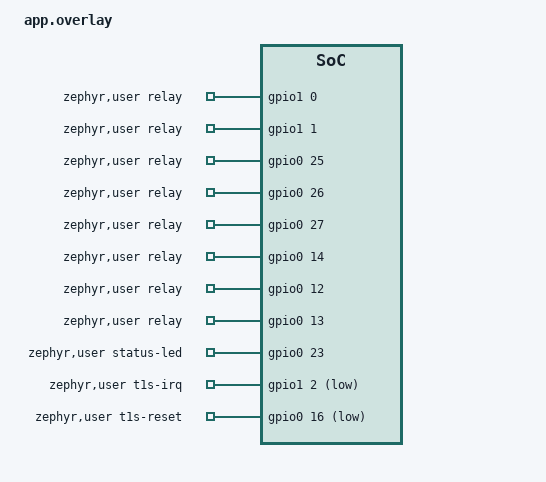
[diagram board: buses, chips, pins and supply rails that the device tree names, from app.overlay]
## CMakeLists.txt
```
cmake_minimum_required(VERSION 3.20.0)

if(NOT BOARD)
  set(BOARD esp32_devkitc/esp32/procpu)
endif()
if(NOT EXISTS "${CMAKE_CURRENT_SOURCE_DIR}/include/config_secrets.h")
  message(FATAL_ERROR "Copy include/sample_cfg_secrets.include to include/config_secrets.h and configure credentials")
endif()

find_package(Zephyr 4.5.0 REQUIRED HINTS $ENV{ZEPHYR_BASE})
project(thermostat_router LANGUAGES C)
target_include_directories(app PRIVATE include)
target_sources(app PRIVATE src/main.c src/network.c src/router.c)
```

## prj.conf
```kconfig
CONFIG_GPIO=y
CONFIG_PINCTRL=y
CONFIG_ESP_SPIRAM=n
CONFIG_ESPTOOLPY_FLASHSIZE_4MB=y

CONFIG_WIFI=y
CONFIG_NETWORKING=y
CONFIG_NET_L2_WIFI_MGMT=y
CONFIG_NET_IPV4=y
CONFIG_NET_IPV6=n
CONFIG_NET_DHCPV4=y
CONFIG_NET_MGMT=y
CONFIG_NET_MGMT_EVENT=y
CONFIG_NET_SOCKETS=y
CONFIG_DNS_RESOLVER=y
CONFIG_MQTT_LIB=y
CONFIG_MQTT_KEEPALIVE=30
CONFIG_NET_TCP=y
CONFIG_NET_UDP=y
CONFIG_NET_MAX_CONTEXTS=8
CONFIG_NET_PKT_RX_COUNT=16
CONFIG_NET_PKT_TX_COUNT=16
CONFIG_NET_BUF_RX_COUNT=32
CONFIG_NET_BUF_TX_COUNT=32

CONFIG_MAIN_STACK_SIZE=6144
CONFIG_SYSTEM_WORKQUEUE_STACK_SIZE=4096
CONFIG_HEAP_MEM_POOL_SIZE=65536
CONFIG_LOG=y
CONFIG_LOG_DEFAULT_LEVEL=3
CONFIG_LOG_MODE_DEFERRED=y
CONFIG_ASSERT=y
CONFIG_REBOOT=y
```

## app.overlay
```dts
#include <zephyr/dt-bindings/gpio/gpio.h>
#include <zephyr/dt-bindings/pinctrl/esp32-pinctrl.h>

/ {
	zephyr,user {
		relay-gpios = <&gpio1 0 GPIO_ACTIVE_HIGH>,
			      <&gpio1 1 GPIO_ACTIVE_HIGH>,
			      <&gpio0 25 GPIO_ACTIVE_HIGH>,
			      <&gpio0 26 GPIO_ACTIVE_HIGH>,
			      <&gpio0 27 GPIO_ACTIVE_HIGH>,
			      <&gpio0 14 GPIO_ACTIVE_HIGH>,
			      <&gpio0 12 GPIO_ACTIVE_HIGH>,
			      <&gpio0 13 GPIO_ACTIVE_HIGH>;
		status-led-gpios = <&gpio0 23 GPIO_ACTIVE_HIGH>;
		/* Reserved only: no MAC/PHY is required or initialized. */
		t1s-irq-gpios = <&gpio1 2 GPIO_ACTIVE_LOW>;
		t1s-reset-gpios = <&gpio0 16 GPIO_ACTIVE_LOW>;
	};
};

&gpio0 {
	/* WROOM has no PSRAM; GPIO16/17 are available on its headers. */
	gpio-reserved-ranges = <6 6>, <20 1>, <24 1>, <28 4>;
};

&i2c0 {
	status = "disabled";
};

&spi2 {
	status = "disabled";
};

&spi3 {
	status = "disabled";
	pinctrl-0 = <&t1s_spi_default>;
	pinctrl-names = "default";
	cs-gpios = <&gpio0 5 GPIO_ACTIVE_LOW>;
};

&pinctrl {
	t1s_spi_default: t1s_spi_default {
		group1 {
			pinmux = <SPIM3_MISO_GPIO19>;
		};
		group2 {
			pinmux = <SPIM3_SCLK_GPIO18>, <SPIM3_MOSI_GPIO21>;
			output-low;
		};
	};
};
```

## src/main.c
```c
#include <zephyr/drivers/gpio.h>
#include <zephyr/kernel.h>
#include <zephyr/logging/log.h>
#include <zephyr/sys/reboot.h>

#include "app.h"

LOG_MODULE_REGISTER(thermostat_router, LOG_LEVEL_INF);

#define USER_NODE DT_PATH(zephyr_user)
#define RELAY_SPEC(node, prop, index) GPIO_DT_SPEC_GET_BY_IDX(node, prop, index),

static const struct gpio_dt_spec relays[] = {
	DT_FOREACH_PROP_ELEM(USER_NODE, relay_gpios, RELAY_SPEC)
};
static const struct gpio_dt_spec led = GPIO_DT_SPEC_GET(USER_NODE, status_led_gpios);
static struct router router;
static struct k_thread led_thread;
K_THREAD_STACK_DEFINE(led_stack, 1024);

BUILD_ASSERT(ARRAY_SIZE(relays) == ROUTER_ZONE_COUNT * 2);

static int write_relay(unsigned int relay, bool energized, void *context)
{
	ARG_UNUSED(context);
	return gpio_pin_set_dt(&relays[relay], energized);
}

static void settle_relays(unsigned int milliseconds, void *context)
{
	ARG_UNUSED(context);
	k_sleep(K_MSEC(milliseconds));
}

int app_set_zone(unsigned int zone, enum zone_mode mode)
{
	const struct router_io io = {
		.write = write_relay,
		.settle = settle_relays,
	};
	int result = router_apply(&router, zone, mode, &io);

	if (result < 0) {
		LOG_ERR("Zone %u GPIO transition failed: %d; resetting to bypass", zone + 1,
			result);
		for (unsigned int parity = 0; parity < 2; ++parity) {
			for (unsigned int i = parity; i < ARRAY_SIZE(relays); i += 2) {
				int reset = gpio_pin_set_dt(&relays[i], 0);

				if (reset < 0) {
					LOG_ERR("Relay %u could not be deenergized: %d", i + 1,
						reset);
				}
			}
			k_sleep(K_MSEC(ROUTER_RELAY_SETTLE_MS));
		}
		sys_reboot(SYS_REBOOT_COLD);
	}
	return result;
}

enum zone_mode app_zone_mode(unsigned int zone)
{
	return router.zones[zone];
}

static void blink_led(void *p1, void *p2, void *p3)
{
	ARG_UNUSED(p1);
	ARG_UNUSED(p2);
	ARG_UNUSED(p3);
	bool illuminated = true;

	for (;;) {
		bool wifi;
		bool mqtt;
		int result = gpio_pin_set_dt(&led, illuminated);

		if (result < 0) {
			LOG_ERR("Status LED write failed: %d", result);
			return;
		}
		app_network_status(&wifi, &mqtt);
		k_sleep(K_MSEC(router_led_duration(wifi, mqtt, illuminated)));
		illuminated = !illuminated;
	}
}

int main(void)
{
	/* Configure every relay inactive before starting any network operation. */
	for (unsigned int i = 0; i < ARRAY_SIZE(relays); ++i) {
		if (!gpio_is_ready_dt(&relays[i])) {
			LOG_ERR("Relay %u GPIO controller is not ready", i + 1);
			return -ENODEV;
		}
		int result = gpio_pin_configure_dt(&relays[i], GPIO_OUTPUT_INACTIVE);

		if (result < 0) {
			LOG_ERR("Relay %u initialization failed: %d", i + 1, result);
			return result;
		}
	}
	if (!gpio_is_ready_dt(&led)) {
		LOG_ERR("LED GPIO controller is not ready");
		return -ENODEV;
	}
	int result = gpio_pin_configure_dt(&led, GPIO_OUTPUT_INACTIVE);

	if (result < 0) {
		LOG_ERR("LED initialization failed: %d", result);
		return result;
	}
	k_thread_create(&led_thread, led_stack, K_THREAD_STACK_SIZEOF(led_stack),
			blink_led, NULL, NULL, NULL, 7, 0, K_NO_WAIT);
	LOG_INF("All four zones initialized in bypass");
	app_run_network();
	return 0;
}
```

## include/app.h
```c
#ifndef THERMOSTAT_APP_H
#define THERMOSTAT_APP_H

#include "router.h"

int app_set_zone(unsigned int zone, enum zone_mode mode);
enum zone_mode app_zone_mode(unsigned int zone);
void app_network_status(bool *wifi, bool *mqtt);
void app_run_network(void);

#endif
```

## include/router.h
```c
#ifndef THERMOSTAT_ROUTER_H
#define THERMOSTAT_ROUTER_H

#include <stdbool.h>
#include <stddef.h>
#include <stdint.h>

#define ROUTER_ZONE_COUNT 4
#define ROUTER_REPORT_INTERVAL_MS 120000
#define ROUTER_RELAY_SETTLE_MS 20

enum zone_mode {
	ZONE_BYPASS,
	ZONE_ON,
	ZONE_OFF,
	ZONE_INVALID
};

struct router {
	enum zone_mode zones[ROUTER_ZONE_COUNT];
};

struct router_io {
	int (*write)(unsigned int relay, bool energized, void *context);
	void (*settle)(unsigned int milliseconds, void *context);
	void *context;
};

struct report_schedule {
	unsigned int zone;
	int64_t deadline;
};

extern const char *const router_command_topics[ROUTER_ZONE_COUNT];
extern const char *const router_state_topics[ROUTER_ZONE_COUNT];

int router_command_zone(const uint8_t *topic, size_t length);
enum zone_mode router_parse_mode(const uint8_t *payload, size_t length);
const char *router_mode_name(enum zone_mode mode);
int router_apply(struct router *router, unsigned int zone, enum zone_mode mode,
		 const struct router_io *io);
unsigned int router_led_duration(bool wifi, bool mqtt, bool illuminated);
void router_report_start(struct report_schedule *schedule, int64_t now);
bool router_report_due(const struct report_schedule *schedule, int64_t now);
void router_report_advance(struct report_schedule *schedule, int64_t now);

#endif
```

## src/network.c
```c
#include <errno.h>
#include <stdio.h>
#include <string.h>

#include <zephyr/kernel.h>
#include <zephyr/logging/log.h>
#include <zephyr/net/net_if.h>
#include <zephyr/net/dhcpv4.h>
#include <zephyr/net/mqtt.h>
#include <zephyr/net/net_event.h>
#include <zephyr/net/socket.h>
#include <zephyr/net/wifi_mgmt.h>
#include <zephyr/sys/atomic.h>

#include "app.h"
#include "config_secrets.h"

LOG_MODULE_REGISTER(router_network, LOG_LEVEL_INF);

BUILD_ASSERT(sizeof(WIFI_SSID) > 1 && sizeof(WIFI_SSID) <= 33,
	     "WIFI_SSID must contain 1 to 32 bytes");
BUILD_ASSERT(sizeof(WIFI_PASSWORD) == 1 ||
	     (sizeof(WIFI_PASSWORD) >= 9 && sizeof(WIFI_PASSWORD) <= 64),
	     "Use an empty Wi-Fi password for an open network, or 8 to 63 bytes for WPA2");
BUILD_ASSERT(sizeof(MQTT_BROKER_HOST) > 1, "MQTT_BROKER_HOST must not be empty");
BUILD_ASSERT(MQTT_BROKER_PORT > 0 && MQTT_BROKER_PORT <= 65535,
	     "MQTT_BROKER_PORT must be between 1 and 65535");

static const char availability[] = "thermostat-router/availability";
static struct net_mgmt_event_callback wifi_callback;
static struct net_if *wifi_interface;
static atomic_t wifi_connected;
static atomic_t mqtt_ready;
static struct mqtt_client client;
static struct sockaddr_in broker;
static uint8_t rx_buffer[512];
static uint8_t tx_buffer[512];
static bool connected;
static bool subscribed;
static int session_error;
static int64_t ping_deadline;
static struct report_schedule reports;

static struct mqtt_utf8 utf8(const char *text)
{
	return (struct mqtt_utf8) {
		.utf8 = (const uint8_t *)text,
		.size = strlen(text),
	};
}

void app_network_status(bool *wifi, bool *mqtt)
{
	*wifi = atomic_get(&wifi_connected) != 0;
	*mqtt = *wifi && atomic_get(&mqtt_ready) != 0;
}

static void wifi_event(struct net_mgmt_event_callback *callback, uint64_t event,
		       struct net_if *iface)
{
	if (iface != wifi_interface) {
		return;
	}
	if (event == NET_EVENT_WIFI_CONNECT_RESULT) {
		const struct wifi_status *status = callback->info;

		if (status == NULL || status->status != 0) {
			atomic_clear(&wifi_connected);
			atomic_clear(&mqtt_ready);
			LOG_WRN("Wi-Fi connection failed: %d", status ? status->status : -EIO);
			return;
		}
		atomic_set(&wifi_connected, 1);
		net_dhcpv4_start(iface);
		LOG_INF("Wi-Fi associated; waiting for DHCP");
	} else if (event == NET_EVENT_WIFI_DISCONNECT_RESULT) {
		atomic_clear(&wifi_connected);
		atomic_clear(&mqtt_ready);
		net_dhcpv4_stop(iface);
		LOG_WRN("Wi-Fi disconnected");
	}
}

static bool network_ready(void)
{
	if (atomic_get(&wifi_connected) == 0) {
		return false;
	}
	const struct in_addr *address =
		net_if_ipv4_get_global_addr(wifi_interface, NET_ADDR_PREFERRED);

	return address != NULL && !net_ipv4_is_addr_unspecified(address);
}

static void request_wifi(void)
{
	struct wifi_connect_req_params params = {
		.ssid = (const uint8_t *)WIFI_SSID,
		.ssid_length = strlen(WIFI_SSID),
		.psk = (const uint8_t *)WIFI_PASSWORD,
		.psk_length = strlen(WIFI_PASSWORD),
		.channel = WIFI_CHANNEL_ANY,
		.band = WIFI_FREQ_BAND_2_4_GHZ,
		.security = sizeof(WIFI_PASSWORD) > 1 ?
			WIFI_SECURITY_TYPE_PSK : WIFI_SECURITY_TYPE_NONE,
		.mfp = WIFI_MFP_OPTIONAL,
		.timeout = 10,
	};
	int result = net_mgmt(NET_REQUEST_WIFI_CONNECT, wifi_interface, &params, sizeof(params));

	if (result < 0 && result != -EALREADY) {
		LOG_WRN("Wi-Fi request failed: %d", result);
	}
}

static int publish_text(const char *topic, const char *text)
{
	struct mqtt_publish_param param = {0};

	param.message.topic.topic = utf8(topic);
	param.message.topic.qos = MQTT_QOS_0_AT_MOST_ONCE;
	param.message.payload.data = (uint8_t *)text;
	param.message.payload.len = strlen(text);
	param.retain_flag = 1;
	return mqtt_publish(&client, &param);
}

static int publish_zone(unsigned int zone)
{
	return publish_text(router_state_topics[zone], router_mode_name(app_zone_mode(zone)));
}

static int read_payload(uint8_t *payload, size_t length)
{
	size_t received = 0;
	int64_t deadline = k_uptime_get() + 2000;

	while (received < length) {
		int result = mqtt_read_publish_payload(&client, payload + received,
						       length - received);

		if (result > 0) {
			received += result;
		} else if (result == 0) {
			return -ECONNRESET;
		} else if (result != -EAGAIN) {
			return result;
		} else {
			if (k_uptime_get() >= deadline) {
				return -ETIMEDOUT;
			}
			struct zsock_pollfd fd = {
				.fd = client.transport.tcp.sock, .events = ZSOCK_POLLIN,
			};
			int polled = zsock_poll(&fd, 1, 50);

			if (polled < 0) {
				return -errno;
			}
			if (fd.revents & (ZSOCK_POLLERR | ZSOCK_POLLHUP | ZSOCK_POLLNVAL)) {
				return -ECONNRESET;
			}
		}
	}
	return 0;
}

static void receive_command(const struct mqtt_publish_param *param)
{
	int zone = router_command_zone(param->message.topic.topic.utf8,
				       param->message.topic.topic.size);
	uint8_t payload[64];

	/* Abort oversized/unsupported packets rather than leave unread bytes in the stream. */
	if (param->message.payload.len > sizeof(payload) ||
	    param->message.topic.qos > MQTT_QOS_1_AT_LEAST_ONCE) {
		LOG_WRN("Rejecting oversized command or unsupported QoS");
		session_error = -EMSGSIZE;
		return;
	}
	session_error = read_payload(payload, param->message.payload.len);
	if (session_error < 0) {
		return;
	}
	enum zone_mode mode = router_parse_mode(payload, param->message.payload.len);

	if (zone < 0 || mode == ZONE_INVALID) {
		LOG_WRN("Ignoring invalid command topic or payload");
	} else {
		if (param->retain_flag) {
			LOG_WRN("Retained command replay; use non-retained commands for reset bypass");
		}
		session_error = app_set_zone((unsigned int)zone, mode);
		if (session_error < 0) {
			return;
		}
		LOG_INF("Zone %u: %s", (unsigned int)zone + 1, router_mode_name(mode));
	}
	if (param->message.topic.qos == MQTT_QOS_1_AT_LEAST_ONCE) {
		struct mqtt_puback_param ack = {.message_id = param->message_id};

		session_error = mqtt_publish_qos1_ack(&client, &ack);
		if (session_error < 0) {
			return;
		}
	}
	/* Even repeated commands get an immediate retained state response. */
	if (zone >= 0 && mode != ZONE_INVALID) {
		session_error = publish_zone((unsigned int)zone);
	}
}

static void mqtt_event(struct mqtt_client *mqtt, const struct mqtt_evt *event)
{
	ARG_UNUSED(mqtt);
	if (event->result != 0) {
		session_error = event->result < 0 ? event->result : -ECONNREFUSED;
		atomic_clear(&mqtt_ready);
		return;
	}
	switch (event->type) {
	case MQTT_EVT_CONNACK:
		if (event->param.connack.return_code != MQTT_CONNECTION_ACCEPTED) {
			session_error = -ECONNREFUSED;
		} else {
			connected = true;
		}
		break;
	case MQTT_EVT_DISCONNECT:
		connected = false;
		atomic_clear(&mqtt_ready);
		session_error = -ECONNRESET;
		break;
	case MQTT_EVT_SUBACK: {
		const struct mqtt_binstr *codes = &event->param.suback.return_codes;

		if (event->param.suback.message_id != 1 || codes->len != ROUTER_ZONE_COUNT) {
			session_error = -EPROTO;
			break;
		}
		for (unsigned int i = 0; i < codes->len; ++i) {
			if (codes->data[i] > MQTT_SUBACK_SUCCESS_QoS_1) {
				LOG_ERR("Broker rejected zone %u subscription", i + 1);
				session_error = -EACCES;
				return;
			}
		}
		subscribed = true;
		break;
	}
	case MQTT_EVT_PUBLISH:
		receive_command(&event->param.publish);
		break;
	default:
		break;
	}
}

static int service_mqtt(void)
{
	if (!network_ready()) {
		return -ENETDOWN;
	}
	struct zsock_pollfd fd = {.fd = client.transport.tcp.sock, .events = ZSOCK_POLLIN};
	int result = zsock_poll(&fd, 1, 100);

	if (result < 0) {
		return -errno;
	}
	if (fd.revents & (ZSOCK_POLLERR | ZSOCK_POLLHUP | ZSOCK_POLLNVAL)) {
		return -ECONNRESET;
	}
	if (fd.revents & ZSOCK_POLLIN) {
		result = mqtt_input(&client);
		if (result < 0 && result != -EAGAIN) {
			return result;
		}
	}
	if (session_error < 0) {
		return session_error;
	}
	if (connected) {
		if (client.unacked_ping == 0) {
			ping_deadline = 0;
		}
		if (ping_deadline != 0 && k_uptime_get() >= ping_deadline) {
			return -ETIMEDOUT;
		}
		result = mqtt_live(&client);
		if (result < 0 && result != -EAGAIN) {
			return result;
		}
		if (client.unacked_ping > 0 && ping_deadline == 0) {
			ping_deadline = k_uptime_get() + 10000;
		}
	}
	return 0;
}

static int wait_for(const bool *flag)
{
	int64_t deadline = k_uptime_get() + 10000;

	while (!*flag) {
		int result = service_mqtt();

		if (result < 0) {
			return result;
		}
		if (k_uptime_get() >= deadline) {
			return -ETIMEDOUT;
		}
	}
	return 0;
}

static int resolve_broker(void)
{
	struct zsock_addrinfo hints = {.ai_family = AF_INET, .ai_socktype = SOCK_STREAM};
	struct zsock_addrinfo *addresses = NULL;
	int result = zsock_getaddrinfo(MQTT_BROKER_HOST, NULL, &hints, &addresses);

	if (result != 0) {
		LOG_WRN("Broker DNS lookup failed: %d", result);
		return -EHOSTUNREACH;
	}
	if (addresses == NULL || addresses->ai_addrlen != sizeof(broker)) {
		if (addresses != NULL) {
			zsock_freeaddrinfo(addresses);
		}
		return -EADDRNOTAVAIL;
	}
	memcpy(&broker, addresses->ai_addr, sizeof(broker));
	broker.sin_port = htons(MQTT_BROKER_PORT);
	zsock_freeaddrinfo(addresses);
	return 0;
}

static int mqtt_session(void)
{
	int result = resolve_broker();

	if (result < 0) {
		return result;
	}
	mqtt_client_init(&client);
	connected = false;
	subscribed = false;
	session_error = 0;
	ping_deadline = 0;
	client.broker = &broker;
	client.evt_cb = mqtt_event;
	client.protocol_version = MQTT_VERSION_3_1_1;
	client.transport.type = MQTT_TRANSPORT_NON_SECURE;
	client.rx_buf = rx_buffer;
	client.rx_buf_size = sizeof(rx_buffer);
	client.tx_buf = tx_buffer;
	client.tx_buf_size = sizeof(tx_buffer);
	client.keepalive = 30;
	client.clean_session = 1;

	const struct net_linkaddr *mac = net_if_get_link_addr(wifi_interface);
	char client_id[48];

	if (mac->len != 6) {
		return -EADDRNOTAVAIL;
	}
	snprintf(client_id, sizeof(client_id), "thermostat-router-%02x%02x%02x%02x%02x%02x",
		 mac->addr[0], mac->addr[1], mac->addr[2], mac->addr[3], mac->addr[4], mac->addr[5]);
	client.client_id = utf8(client_id);
	struct mqtt_topic will_topic = {
		.topic = utf8(availability), .qos = MQTT_QOS_0_AT_MOST_ONCE,
	};
	struct mqtt_utf8 will_message = utf8("offline");

	client.will_topic = &will_topic;
	client.will_message = &will_message;
	client.will_retain = 1;
#if MQTT_AUTH_ENABLED
	struct mqtt_utf8 username = utf8(MQTT_USERNAME);
	struct mqtt_utf8 password = utf8(MQTT_PASSWORD);

	client.user_name = &username;
	client.password = &password;
#endif
	result = mqtt_connect(&client);
	if (result < 0) {
		return result;
	}
	result = wait_for(&connected);
	if (result == 0) {
		struct mqtt_topic topics[ROUTER_ZONE_COUNT];

		for (unsigned int i = 0; i < ROUTER_ZONE_COUNT; ++i) {
			topics[i].topic = utf8(router_command_topics[i]);
			topics[i].qos = MQTT_QOS_1_AT_LEAST_ONCE;
		}
		struct mqtt_subscription_list subscriptions = {
			.list = topics, .list_count = ROUTER_ZONE_COUNT, .message_id = 1,
		};

		result = mqtt_subscribe(&client, &subscriptions);
	}
	if (result == 0) {
		result = wait_for(&subscribed);
	}
	for (unsigned int zone = 0; result == 0 && zone < ROUTER_ZONE_COUNT; ++zone) {
		result = publish_zone(zone);
	}
	if (result == 0) {
		result = publish_text(availability, "online");
	}
	if (result == 0) {
		atomic_set(&mqtt_ready, 1);
		LOG_INF("MQTT connected and subscribed");
	}
	while (result == 0) {
		result = service_mqtt();
		int64_t now = k_uptime_get();

		if (result == 0 && router_report_due(&reports, now)) {
			result = publish_zone(reports.zone);
			if (result == 0) {
				router_report_advance(&reports, now);
			}
		}
	}
	atomic_clear(&mqtt_ready);
	/* Abort rather than gracefully disconnect so the broker emits the offline will. */
	int aborted = mqtt_abort(&client);

	if (aborted < 0 && aborted != -ENOTCONN) {
		LOG_WRN("MQTT cleanup failed: %d", aborted);
	}
	return result;
}

void app_run_network(void)
{
	wifi_interface = net_if_get_wifi_sta();
	if (wifi_interface == NULL) {
		LOG_ERR("No Wi-Fi station interface; zones remain in bypass");
		return;
	}
	net_mgmt_init_event_callback(&wifi_callback, wifi_event,
				    NET_EVENT_WIFI_CONNECT_RESULT | NET_EVENT_WIFI_DISCONNECT_RESULT);
	net_mgmt_add_event_callback(&wifi_callback);
	router_report_start(&reports, k_uptime_get());
	int64_t next_wifi_attempt = 0;
	int64_t next_mqtt_attempt = 0;

	for (;;) {
		int64_t now = k_uptime_get();

		if (atomic_get(&wifi_connected) == 0 && now >= next_wifi_attempt) {
			request_wifi();
			next_wifi_attempt = k_uptime_get() + 15000;
		}
		if (network_ready() && now >= next_mqtt_attempt) {
			int result = mqtt_session();

			LOG_WRN("MQTT session ended: %d; retrying", result);
			next_mqtt_attempt = k_uptime_get() + 5000;
		}
		k_sleep(K_MSEC(100));
	}
}
```

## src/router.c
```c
#include <errno.h>
#include <string.h>

#include "router.h"

const char *const router_command_topics[ROUTER_ZONE_COUNT] = {
	"thermostat-router/zone1/set", "thermostat-router/zone2/set",
	"thermostat-router/zone3/set", "thermostat-router/zone4/set",
};

const char *const router_state_topics[ROUTER_ZONE_COUNT] = {
	"thermostat-router/zone1/state", "thermostat-router/zone2/state",
	"thermostat-router/zone3/state", "thermostat-router/zone4/state",
};

int router_command_zone(const uint8_t *topic, size_t length)
{
	for (unsigned int i = 0; i < ROUTER_ZONE_COUNT; ++i) {
		if (length == strlen(router_command_topics[i]) &&
		    memcmp(topic, router_command_topics[i], length) == 0) {
			return (int)i;
		}
	}
	return -1;
}

enum zone_mode router_parse_mode(const uint8_t *payload, size_t length)
{
	for (enum zone_mode mode = ZONE_BYPASS; mode < ZONE_INVALID; ++mode) {
		const char *name = router_mode_name(mode);

		if (length == strlen(name) && memcmp(payload, name, length) == 0) {
			return mode;
		}
	}
	return ZONE_INVALID;
}

const char *router_mode_name(enum zone_mode mode)
{
	switch (mode) {
	case ZONE_BYPASS: return "bypass";
	case ZONE_ON: return "on";
	case ZONE_OFF: return "off";
	default: return "invalid";
	}
}

int router_apply(struct router *router, unsigned int zone, enum zone_mode mode,
		 const struct router_io *io)
{
	if (zone >= ROUTER_ZONE_COUNT || mode < ZONE_BYPASS || mode >= ZONE_INVALID) {
		return -EINVAL;
	}
	if (router->zones[zone] == mode) {
		return 0;
	}

	unsigned int odd = zone * 2;
	unsigned int even = odd + 1;
	int result;

	/* Disconnect the thermostat before applying 24 VAC; remove 24 VAC
	 * before reconnecting the thermostat. Allow mechanical contacts to settle.
	 */
	if (mode == ZONE_ON) {
		result = io->write(even, true, io->context);
		if (result < 0) {
			return result;
		}
		io->settle(ROUTER_RELAY_SETTLE_MS, io->context);
		result = io->write(odd, true, io->context);
	} else {
		result = io->write(odd, false, io->context);
		if (result < 0) {
			return result;
		}
		io->settle(ROUTER_RELAY_SETTLE_MS, io->context);
		result = io->write(even, mode == ZONE_OFF, io->context);
	}
	if (result == 0) {
		router->zones[zone] = mode;
	}
	return result;
}

unsigned int router_led_duration(bool wifi, bool mqtt, bool illuminated)
{
	if (!wifi) {
		return illuminated ? 2000 : 500;
	}
	return mqtt ? 500 : 200;
}

void router_report_start(struct report_schedule *schedule, int64_t now)
{
	schedule->zone = 0;
	schedule->deadline = now + ROUTER_REPORT_INTERVAL_MS;
}

bool router_report_due(const struct report_schedule *schedule, int64_t now)
{
	return now >= schedule->deadline;
}

void router_report_advance(struct report_schedule *schedule, int64_t now)
{
	schedule->zone = (schedule->zone + 1) % ROUTER_ZONE_COUNT;
	schedule->deadline = now + ROUTER_REPORT_INTERVAL_MS;
}
```
